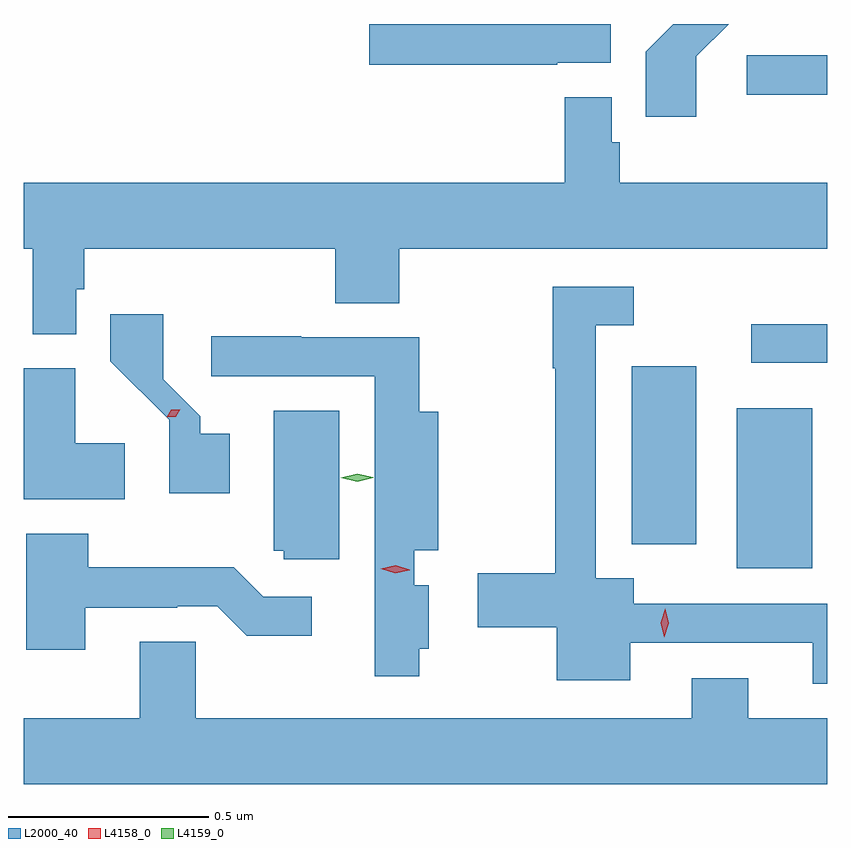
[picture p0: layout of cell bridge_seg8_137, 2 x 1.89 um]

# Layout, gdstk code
import gdstk
lib = gdstk.Library(unit=1e-6, precision=1e-09)
def R(c, l, rs):  # rectangles x0, y0, x1, y1
    for r in rs: c.add(gdstk.rectangle(r[:2], r[2:], *l))
def P(c, l, *ps):  # polygons
    for p in ps: c.add(gdstk.Polygon(p, *l))
L2000_40 = (2000, 40)
L4158_0 = (4158, 0)
L4159_0 = (4159, 0)

bridge_seg8_137 = lib.new_cell('bridge_seg8_137')
R(bridge_seg8_137, L2000_40, [(503.024,1159.661,503.212,1160.059), (502.763,1159.721,502.924,1160.164), (503.061,1160.172,503.25,1160.268), (503.049,1160.839,503.25,1160.937)])
P(bridge_seg8_137, L2000_40, [(502.924,1160.935),(503.004,1161.015),(502.867,1161.015),(502.798,1160.946),(502.798,1160.784),(502.924,1160.784)],
  [(502.578,1160.918),(502.711,1160.918),(502.711,1161.015),(502.11,1161.015),(502.11,1160.914),(502.578,1160.914)],
  [(501.381,1160.355),(501.401,1160.355),(501.401,1160.456),(502.025,1160.456),(502.025,1160.32),(502.185,1160.32),(502.185,1160.456),(503.25,1160.456),(503.25,1160.62),(502.733,1160.62),(502.733,1160.721),(502.713,1160.721),(502.713,1160.833),(502.597,1160.833),(502.597,1160.62),(501.25,1160.62),(501.25,1160.456),(501.273,1160.456),(501.273,1160.243),(501.381,1160.243)],
  [(503.25,1159.572),(502.768,1159.572),(502.768,1159.636),(502.674,1159.636),(502.674,1160.265),(502.768,1160.265),(502.768,1160.361),(502.566,1160.361),(502.566,1160.158),(502.573,1160.158),(502.573,1159.649),(502.38,1159.649),(502.38,1159.514),(502.577,1159.514),(502.577,1159.382),(502.759,1159.382),(502.759,1159.476),(503.213,1159.476),(503.213,1159.374),(503.25,1159.374)],
  [(501.763,1159.996),(501.689,1159.996),(501.689,1160.039),(501.597,1160.131),(501.597,1160.293),(501.466,1160.293),(501.466,1160.176),(501.613,1160.03),(501.613,1159.848),(501.763,1159.848)],
  [(502.234,1159.46),(502.258,1159.46),(502.258,1159.618),(502.222,1159.618),(502.222,1159.706),(502.282,1159.706),(502.282,1160.05),(502.234,1160.05),(502.234,1160.235),(501.941,1160.235),(501.941,1160.238),(501.717,1160.238),(501.717,1160.139),(502.124,1160.139),(502.124,1159.392),(502.234,1159.392)],
  [(501.502,1159.972),(501.379,1159.972),(501.379,1160.158),(501.25,1160.158),(501.25,1159.832),(501.502,1159.832)],
  [(502.036,1160.053),(501.872,1160.053),(501.872,1159.704),(501.897,1159.704),(501.897,1159.683),(502.036,1159.683)],
  [(501.403,1159.563),(501.632,1159.563),(501.632,1159.566),(501.732,1159.566),(501.805,1159.493),(501.967,1159.493),(501.967,1159.59),(501.846,1159.59),(501.773,1159.663),(501.411,1159.663),(501.411,1159.747),(501.256,1159.747),(501.256,1159.458),(501.403,1159.458)],
  [(503.25,1159.288),(503.053,1159.288),(503.053,1159.387),(502.913,1159.387),(502.913,1159.288),(501.678,1159.288),(501.678,1159.478),(501.539,1159.478),(501.539,1159.288),(501.25,1159.288),(501.25,1159.124),(503.25,1159.124)])
P(bridge_seg8_137, L4158_0, [(502.844,1159.489),(502.844,1159.489),(502.835,1159.525),(502.846,1159.56),(502.846,1159.56),(502.846,1159.56),(502.855,1159.524),(502.844,1159.489)],
  [(502.175,1159.648),(502.139,1159.659),(502.139,1159.659),(502.139,1159.659),(502.176,1159.668),(502.211,1159.657),(502.211,1159.656),(502.211,1159.656)],
  [(501.606,1160.036),(501.606,1160.037),(501.618,1160.055),(501.64,1160.056),(501.64,1160.056),(501.64,1160.056),(501.628,1160.038),(501.607,1160.036)])
P(bridge_seg8_137, L4159_0, [(502.08,1159.876),(502.039,1159.886),(502.039,1159.886),(502.039,1159.886),(502.08,1159.896),(502.12,1159.887),(502.12,1159.887),(502.12,1159.886)])

lib.write_gds('bridge_seg8_137.gds')
